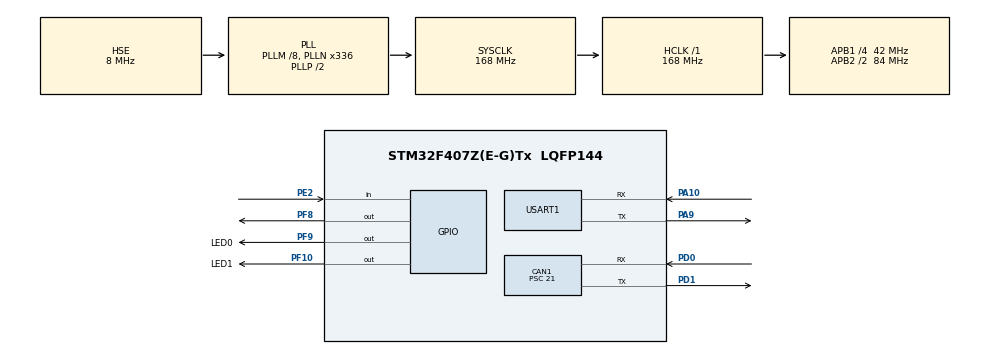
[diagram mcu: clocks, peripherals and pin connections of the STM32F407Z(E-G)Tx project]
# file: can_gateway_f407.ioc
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CAN1.ABOM=ENABLE
CAN1.AWUM=ENABLE
CAN1.BS1=CAN_BS1_12TQ
CAN1.BS2=CAN_BS2_3TQ
CAN1.CalculateBaudRate=125000
CAN1.CalculateTimeBit=8000
CAN1.CalculateTimeQuantum=500.0
CAN1.Mode=CAN_MODE_NORMAL
CAN1.NART=ENABLE
CAN1.Prescaler=21
FREERTOS.Tasks01=defaultTask,24,128,StartDefaultTask,Default,NULL,Dynamic,NULL,NULL
FREERTOS.configCHECK_FOR_STACK_OVERFLOW=2
FREERTOS.configTOTAL_HEAP_SIZE=32768
FREERTOS.configUSE_MALLOC_FAILED_HOOK=1
IWDG.Prescaler=IWDG_PRESCALER_128
IWDG.Reload=249
Mcu.Family=STM32F4
Mcu.Name=STM32F407Z(E-G)Tx
Mcu.Package=LQFP144
NVIC.CAN1_RX0_IRQn=true\:5\:0\:false\:false\:true\:true\:true\:true\:true
NVIC.PriorityGroup=NVIC_PRIORITYGROUP_4
NVIC.TIM6_DAC_IRQn=true\:15\:0\:false\:false\:true\:false\:false\:true\:true
NVIC.TimeBase=TIM6_DAC_IRQn
NVIC.TimeBaseIP=TIM6
PA10.Mode=Asynchronous
PA10.Signal=USART1_RX
PA13.Mode=Serial_Wire
PA13.Signal=SYS_JTMS-SWDIO
PA14.Mode=Serial_Wire
PA14.Signal=SYS_JTCK-SWCLK
PA9.Mode=Asynchronous
PA9.Signal=USART1_TX
PC14-OSC32_IN.Mode=LSE-External-Oscillator
PC14-OSC32_IN.Signal=RCC_OSC32_IN
PC15-OSC32_OUT.Mode=LSE-External-Oscillator
PC15-OSC32_OUT.Signal=RCC_OSC32_OUT
PD0.Mode=CAN_Activate
PD0.Signal=CAN1_RX
PD1.Mode=CAN_Activate
PD1.Signal=CAN1_TX
PE2.GPIO_PuPd=GPIO_PULLUP
PE2.Signal=GPIO_Input
PF10.GPIO_Label=LED1
PF10.PinState=GPIO_PIN_SET
PF10.Signal=GPIO_Output
PF8.PinState=GPIO_PIN_RESET
PF8.Signal=GPIO_Output
PF9.GPIO_Label=LED0
PF9.PinState=GPIO_PIN_SET
PF9.Signal=GPIO_Output
PH0-OSC_IN.Mode=HSE-External-Oscillator
PH0-OSC_IN.Signal=RCC_OSC_IN
PH1-OSC_OUT.Mode=HSE-External-Oscillator
PH1-OSC_OUT.Signal=RCC_OSC_OUT
ProjectManager.HeapSize=0x200
ProjectManager.StackSize=0x400
ProjectManager.TargetToolchain=MDK-ARM V5.32
RCC.48MHZClocksFreq_Value=84000000
RCC.AHBFreq_Value=168000000
RCC.APB1CLKDivider=RCC_HCLK_DIV4
RCC.APB1Freq_Value=42000000
RCC.APB1TimFreq_Value=84000000
RCC.APB2CLKDivider=RCC_HCLK_DIV2
RCC.APB2Freq_Value=84000000
RCC.APB2TimFreq_Value=168000000
RCC.CortexFreq_Value=168000000
RCC.HCLKFreq_Value=168000000
RCC.HSE_VALUE=8000000
RCC.HSI_VALUE=16000000
RCC.PLLM=8
RCC.PLLN=336
RCC.PLLSourceVirtual=RCC_PLLSOURCE_HSE
RCC.SYSCLKFreq_VALUE=168000000
RCC.SYSCLKSource=RCC_SYSCLKSOURCE_PLLCLK
RCC.VCOOutputFreq_Value=336000000
USART1.VirtualMode=VM_ASYNC
VP_FREERTOS_VS_CMSIS_V2.Mode=CMSIS_V2
VP_IWDG_VS_IWDG.Mode=IWDG_Activate
VP_SYS_VS_tim6.Mode=TIM6
board=custom

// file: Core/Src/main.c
/* USER CODE BEGIN Header */
/**
  ******************************************************************************
  * @file           : main.c
  * @brief          : Main program body
  ******************************************************************************
  * @attention
  *
  * Copyright (c) 2026 STMicroelectronics.
  * All rights reserved.
  *
  * This software is licensed under terms that can be found in the LICENSE file
  * in the root directory of this software component.
  * If no LICENSE file comes with this software, it is provided AS-IS.
  *
  ******************************************************************************
  */
/* USER CODE END Header */
#include "main.h"
#include "cmsis_os.h"
#include "can.h"
#include "iwdg.h"
#include "usart.h"
#include "gpio.h"

/* USER CODE BEGIN Includes */
#include <stdio.h>
/* USER CODE END Includes */

void SystemClock_Config(void);
void MX_FREERTOS_Init(void);

/* USER CODE BEGIN 0 */
int fputc(int ch, FILE *f)
{
	  HAL_UART_Transmit(&huart1, (uint8_t *)&ch, 1, 0XFFFFU);
		return ch;
}
/* USER CODE END 0 */

int main(void)
{

  /* MCU Configuration--------------------------------------------------------*/

  /* Reset of all peripherals, Initializes the Flash interface and the Systick. */
  HAL_Init();

  /* Configure the system clock */
  SystemClock_Config();

  /* Initialize all configured peripherals */
  MX_GPIO_Init();
  MX_CAN1_Init();
  MX_USART1_UART_Init();
  MX_IWDG_Init();
  /* USER CODE BEGIN 2 */
  /* CAN初始化（bsp_can_init：建队列+�?中断+HAL_CAN_Start）已移到 App_MainTask�?
     避免调度器启动前/后双重初始化 */
  /* USER CODE END 2 */

  /* Init scheduler */
  osKernelInitialize();  /* Call init function for freertos objects (in cmsis_os2.c) */
  MX_FREERTOS_Init();

  /* Start scheduler */
  osKernelStart();

  /* We should never get here as control is now taken by the scheduler */

  /* Infinite loop */
  while (1)
  {

  }
}

void SystemClock_Config(void)
{
  RCC_OscInitTypeDef RCC_OscInitStruct = {0};
  RCC_ClkInitTypeDef RCC_ClkInitStruct = {0};

  /** Configure the main internal regulator output voltage
  */
  __HAL_RCC_PWR_CLK_ENABLE();
  __HAL_PWR_VOLTAGESCALING_CONFIG(PWR_REGULATOR_VOLTAGE_SCALE1);

  /** Initializes the RCC Oscillators according to the specified parameters
  * in the RCC_OscInitTypeDef structure.
  */
  RCC_OscInitStruct.OscillatorType = RCC_OSCILLATORTYPE_LSI|RCC_OSCILLATORTYPE_HSE;
  RCC_OscInitStruct.HSEState = RCC_HSE_ON;
  RCC_OscInitStruct.LSIState = RCC_LSI_ON;
  RCC_OscInitStruct.PLL.PLLState = RCC_PLL_ON;
  RCC_OscInitStruct.PLL.PLLSource = RCC_PLLSOURCE_HSE;
  RCC_OscInitStruct.PLL.PLLM = 8;
  RCC_OscInitStruct.PLL.PLLN = 336;
  RCC_OscInitStruct.PLL.PLLP = RCC_PLLP_DIV2;
  RCC_OscInitStruct.PLL.PLLQ = 4;
  if (HAL_RCC_OscConfig(&RCC_OscInitStruct) != HAL_OK)
  {
    Error_Handler();
  }

  /** Initializes the CPU, AHB and APB buses clocks
  */
  RCC_ClkInitStruct.ClockType = RCC_CLOCKTYPE_HCLK|RCC_CLOCKTYPE_SYSCLK
                              |RCC_CLOCKTYPE_PCLK1|RCC_CLOCKTYPE_PCLK2;
  RCC_ClkInitStruct.SYSCLKSource = RCC_SYSCLKSOURCE_PLLCLK;
  RCC_ClkInitStruct.AHBCLKDivider = RCC_SYSCLK_DIV1;
  RCC_ClkInitStruct.APB1CLKDivider = RCC_HCLK_DIV4;
  RCC_ClkInitStruct.APB2CLKDivider = RCC_HCLK_DIV2;

  if (HAL_RCC_ClockConfig(&RCC_ClkInitStruct, FLASH_LATENCY_5) != HAL_OK)
  {
    Error_Handler();
  }
}

void HAL_TIM_PeriodElapsedCallback(TIM_HandleTypeDef *htim)
{
  if (htim->Instance == TIM6)
  {
    HAL_IncTick();
  }
}

void Error_Handler(void)
{
  /* USER CODE BEGIN Error_Handler_Debug */
  /* RTOS环境下禁止用__disable_irq()关中断，否则整个调度器死亡！
   * 使用直接寄存器操作，不依赖HAL状�?�，确保任何阶段都能点亮LED
   * 原理图LED接PF9(LED0)和PF10(LED1)，低电平点亮 */

  /* 1. 使能GPIOF时钟 */
  RCC->AHB1ENR |= RCC_AHB1ENR_GPIOFEN;

  /* 2. 配置PF9, PF10为推挽输�?? (AF=0, MODE=11, OTYPER=0, PUPD=00) */
  /* MODER: PF9=bit18-19, PF10=bit20-21 */
  GPIOF->MODER = (GPIOF->MODER & ~((3<<18)|(3<<20))) | ((1<<18)|(1<<20));
  /* OTYPER: PF9=bit9, PF10=bit10 */
  GPIOF->OTYPER &= ~((1<<9)|(1<<10));
  /* OSPEEDR: PF9=bit18-19, PF10=bit20-21 */
  GPIOF->OSPEEDR = (GPIOF->OSPEEDR & ~((3<<18)|(3<<20))) | ((2<<18)|(2<<20));
  /* PUPDR: PF9=bit18-19, PF10=bit20-21 */
  GPIOF->PUPDR &= ~((3<<18)|(3<<20));

  /* 3. LED1(PF10) 拉低点亮（低电平有效�?? */
  GPIOF->BSRR = (1<<(10+16));  /* Reset PF10 */

  /* 4. 尝试输出错误信息（如果UART可用�?? */
  printf("[ERROR] HAL Error_Handler!\r\n");

  /* 5. LED0(PF9) 快闪 */
  while (1)
  {
    GPIOF->ODR ^= (1<<9);      /* Toggle PF9 */
    for(volatile uint32_t i = 0; i < 300000; i++);
  }
  /* USER CODE END Error_Handler_Debug */
}

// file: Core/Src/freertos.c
/* USER CODE BEGIN Header */
/**
  ******************************************************************************
  * File Name          : freertos.c
  * Description        : Code for freertos applications
  ******************************************************************************
  * @attention
  *
  * Copyright (c) 2026 STMicroelectronics.
  * All rights reserved.
  *
  * This software is licensed under terms that can be found in the LICENSE file
  * in the root directory of this software component.
  * If no LICENSE file comes with this software, it is provided AS-IS.
  *
  ******************************************************************************
  */
/* USER CODE END Header */

#include "FreeRTOS.h"
#include "task.h"
#include "main.h"
#include "cmsis_os.h"

/* USER CODE BEGIN Includes */
#include "app_main.h"
#include <stdio.h>
#include "app_can_gw.h"
/* USER CODE END Includes */

/* Definitions for defaultTask */
osThreadId_t defaultTaskHandle;
const osThreadAttr_t defaultTask_attributes = {
  .name = "defaultTask",
  .stack_size = 128 * 4,
  .priority = (osPriority_t) osPriorityNormal,
};

void StartDefaultTask(void *argument);

void MX_FREERTOS_Init(void); /* (MISRA C 2004 rule 8.1) */

/* Hook prototypes */
void vApplicationStackOverflowHook(xTaskHandle xTask, signed char *pcTaskName);
void vApplicationMallocFailedHook(void);

/* USER CODE BEGIN 4 */
void vApplicationStackOverflowHook(xTaskHandle xTask, signed char *pcTaskName)
{
   /* Stack overflow detected! LED1(PF10)常亮 + LED0(PF9)快闪 */
   (void)xTask;
   (void)pcTaskName;
   RCC->AHB1ENR |= RCC_AHB1ENR_GPIOFEN;
   /* MODER: PF9=bit18-19, PF10=bit20-21, set to output(1) */
   GPIOF->MODER = (GPIOF->MODER & ~((3<<18)|(3<<20))) | ((1<<18)|(1<<20));
   GPIOF->OTYPER &= ~((1<<9)|(1<<10));
   GPIOF->BSRR = (1<<(10+16));  /* PF10 LOW (LED1) */
   /* No blocking print here: hook runs in task-switch context, calling
      printf->HAL_UART_Transmit would deadlock. LED pattern is the indicator. */
   NVIC_SystemReset();
   for(;;)
   {
       GPIOF->ODR ^= (1<<9);      /* Toggle PF9 (LED0�??) */
       for(volatile uint32_t i = 0; i < 200000; i++);
   }
}

/* USER CODE END 4 */

/* USER CODE BEGIN 5 */
void vApplicationMallocFailedHook(void)
{
   /* Malloc failed! LED0(PF9)常亮 + LED1(PF10)快闪 */
   RCC->AHB1ENR |= RCC_AHB1ENR_GPIOFEN;
   GPIOF->MODER = (GPIOF->MODER & ~((3<<18)|(3<<20))) | ((1<<18)|(1<<20));
   GPIOF->OTYPER &= ~((1<<9)|(1<<10));
   GPIOF->BSRR = (1<<(9+16));   /* PF9 LOW (LED0) */
   /* No blocking print here: hook may run from ISR/task-switch context.
      HAL_UART_Transmit would deadlock; LED pattern is the indicator. */
   NVIC_SystemReset();
   for(;;)
   {
       GPIOF->ODR ^= (1<<10);     /* Toggle PF10 (LED1�??) */
       for(volatile uint32_t i = 0; i < 200000; i++);
   }
}
/* USER CODE END 5 */

void MX_FREERTOS_Init(void) {
  /* USER CODE BEGIN Init */
    /* TaskCanGateway ͳһ�� App_MainTask(app_main.c) �ڡ�bsp_can_init() ֮�󴴽���
       �����ظ���������ʵ����ͬһ���С��˴����ٴ����� */
  /* USER CODE END Init */

  /* USER CODE BEGIN RTOS_QUEUES */
  extern void App_SystemInit(void);
  App_SystemInit();
  /* USER CODE END RTOS_QUEUES */

  /* Create the thread(s) */
  /* creation of defaultTask */
  defaultTaskHandle = osThreadNew(StartDefaultTask, NULL, &defaultTask_attributes);

}

void StartDefaultTask(void *argument)
{
  for(;;)
  {
    osDelay(1);
  }
}
